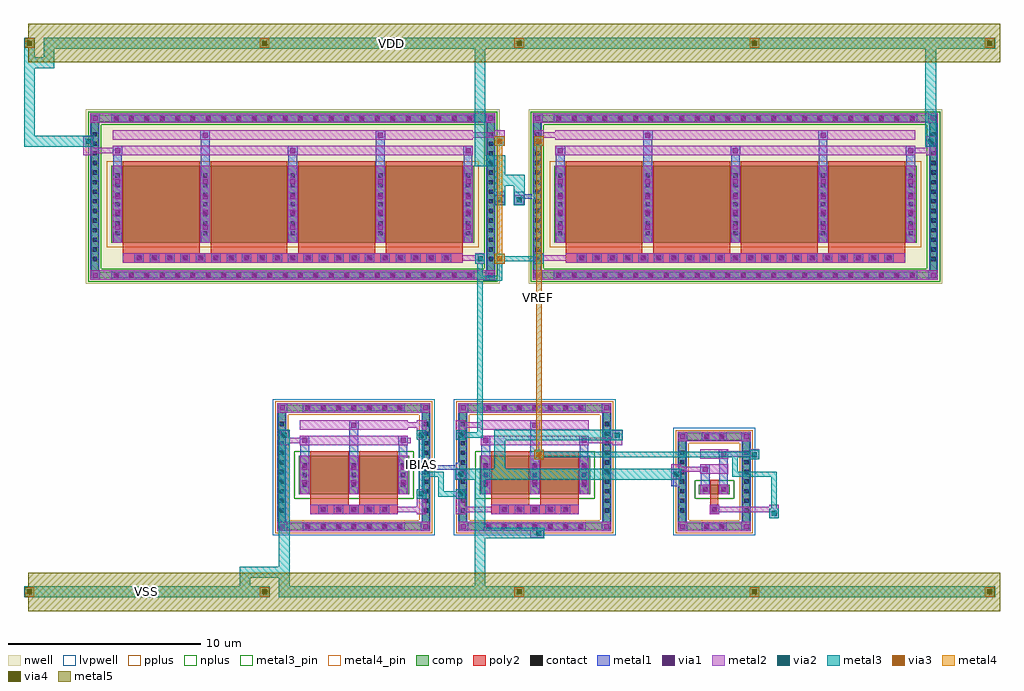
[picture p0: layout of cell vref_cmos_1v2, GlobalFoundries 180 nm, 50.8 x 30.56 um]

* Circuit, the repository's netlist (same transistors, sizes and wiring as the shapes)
* 1.2 V MOS-only reference (NMOS diode at its zero-TC current).
*
* Designed through the mbg agent CLI; see results/claude-code_vref_1v2_cmos.
* complexity: 5 MOS, 5 nets, max net degree 6
.lib "{PDK_LIB}" typical
.subckt vref_cmos_1v2 VDD VSS VREF IBIAS
XM0 IBIAS IBIAS VSS VSS nfet_03v3 L=2u W=4u nf=2
XM1 pm IBIAS VSS VSS nfet_03v3 L=2u W=4u nf=2
XM2 pm pm VDD VDD pfet_03v3 L=4u W=16u nf=4
XM3 VREF pm VDD VDD pfet_03v3 L=4u W=16u nf=4
XM4 VREF VREF VSS VSS nfet_03v3 L=0.4u W=0.5u nf=1
.ends

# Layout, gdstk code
import gdstk
lib = gdstk.Library(unit=1e-6, precision=1e-09)
def R(c, l, rs):  # rectangles x0, y0, x1, y1
    for r in rs: c.add(gdstk.rectangle(r[:2], r[2:], *l))
def A(c, l, x, y, w, h, nx, ny, dx, dy):  # array of equal rectangles
    R(c, l, [(x+i*dx, y+j*dy, x+i*dx+w, y+j*dy+h) for i in range(nx) for j in range(ny)])
def P(c, l, *ps):  # polygons
    for p in ps: c.add(gdstk.Polygon(p, *l))
nwell = (21, 0)
comp = (22, 0)
poly2 = (30, 0)
pplus = (31, 0)
nplus = (32, 0)
contact = (33, 0)
metal1 = (34, 0)
via1 = (35, 0)
metal2 = (36, 0)
via2 = (38, 0)
via3 = (40, 0)
via4 = (41, 0)
metal3 = (42, 0)
metal3_pin = (42, 10)
metal4 = (46, 0)
metal4_pin = (46, 10)
metal5 = (81, 0)
lvpwell = (204, 0)

vref_cmos_1v2 = lib.new_cell('vref_cmos_1v2')
R(vref_cmos_1v2, nwell, [(-22.29,13.09,-0.75,22.18), (0.75,13.09,22.29,22.18)])
A(vref_cmos_1v2, comp, -10.92, 0.28, 0.36, 0.36, 7, 2, 0.8, 6.17)
A(vref_cmos_1v2, comp, -1.5, 0.28, 0.36, 0.36, 7, 2, 0.8, 6.17)
A(vref_cmos_1v2, comp, -12.27, 1.115, 0.36, 0.36, 1, 10, 0, 0.5)
A(vref_cmos_1v2, comp, -4.77, 1.115, 0.36, 0.36, 1, 10, 0, 0.5)
A(vref_cmos_1v2, comp, -2.85, 1.115, 0.36, 0.36, 1, 10, 0, 0.5)
A(vref_cmos_1v2, comp, 4.65, 1.115, 0.36, 0.36, 1, 10, 0, 0.5)
A(vref_cmos_1v2, comp, 8.57, 1.12, 0.36, 0.36, 1, 7, 0, 0.5)
A(vref_cmos_1v2, comp, 11.91, 1.12, 0.36, 0.36, 1, 7, 0, 0.5)
A(vref_cmos_1v2, comp, -20.9, 13.37, 0.36, 0.36, 24, 2, 0.8, 8.17)
A(vref_cmos_1v2, comp, 2.14, 13.37, 0.36, 0.36, 24, 2, 0.8, 8.17)
A(vref_cmos_1v2, comp, -22.01, 14.205, 0.36, 0.36, 1, 14, 0, 0.5)
A(vref_cmos_1v2, comp, -1.39, 14.205, 0.36, 0.36, 1, 14, 0, 0.5)
A(vref_cmos_1v2, comp, 1.03, 14.205, 0.36, 0.36, 1, 14, 0, 0.5)
A(vref_cmos_1v2, comp, 21.65, 14.205, 0.36, 0.36, 1, 14, 0, 0.5)
R(vref_cmos_1v2, comp, [(-10.92,0.28,-5.76,0.64), (-1.5,0.28,3.66,0.64), (9.84,0.28,10.2,0.64), (9.84,0.28,11,0.64), (10.64,0.28,11,0.64), (-12.27,1.115,-11.91,5.975), (-4.77,1.115,-4.41,5.975), (-2.85,1.115,-2.49,5.975), (4.65,1.115,5.01,5.975), (8.57,1.12,8.93,4.48), (11.91,1.12,12.27,4.48), (-11.22,2.14,-5.46,4.14), (-1.8,2.14,3.96,4.14), (9.62,2.145,11.22,2.645), (9.84,4.96,10.2,5.32), (9.84,4.96,11,5.32), (10.64,4.96,11,5.32), (-10.92,6.45,-5.76,6.81), (-1.5,6.45,3.66,6.81), (-20.9,13.37,-2.14,13.73), (2.14,13.37,20.9,13.73), (-22.01,14.205,-21.65,21.065), (-1.39,14.205,-1.03,21.065), (1.03,14.205,1.39,21.065), (21.65,14.205,22.01,21.065), (-20.96,15.23,-2.08,19.23), (2.08,15.23,20.96,19.23), (-20.9,21.54,-2.14,21.9), (2.14,21.54,20.9,21.9)])
P(vref_cmos_1v2, comp, [(-4.41,6.81),(-12.27,6.81),(-12.27,0.64),(-11.91,0.64),(-11.91,6.45),(-4.77,6.45),(-4.77,0.64),(-11.91,0.64),(-12.27,0.64),(-12.27,0.28),(-4.41,0.28)],
  [(12.27,5.32),(8.57,5.32),(8.57,0.64),(8.93,0.64),(8.93,4.96),(11.91,4.96),(11.91,0.64),(8.93,0.64),(8.57,0.64),(8.57,0.28),(12.27,0.28)],
  [(22.01,21.9),(1.03,21.9),(1.03,13.73),(1.39,13.73),(1.39,21.54),(21.65,21.54),(21.65,13.73),(1.39,13.73),(1.03,13.73),(1.03,13.37),(22.01,13.37)],
  [(-1.03,21.9),(-22.01,21.9),(-22.01,13.73),(-21.65,13.73),(-21.65,21.54),(-1.39,21.54),(-1.39,13.73),(-21.65,13.73),(-22.01,13.73),(-22.01,13.37),(-1.03,13.37)],
  [(5.01,6.81),(-2.85,6.81),(-2.85,0.64),(-2.49,0.64),(-2.49,6.45),(4.65,6.45),(4.65,0.64),(-2.49,0.64),(-2.85,0.64),(-2.85,0.28),(5.01,0.28)])
A(vref_cmos_1v2, poly2, -10.12, 1.17, 0.36, 0.36, 5, 1, 0.8, 0)
A(vref_cmos_1v2, poly2, -0.7, 1.17, 0.36, 0.36, 5, 1, 0.8, 0)
A(vref_cmos_1v2, poly2, -19.7, 14.26, 0.36, 0.36, 21, 1, 0.8, 0)
A(vref_cmos_1v2, poly2, 3.34, 14.26, 0.36, 0.36, 21, 1, 0.8, 0)
A(vref_cmos_1v2, poly2, -20.36, 14.69, 4, 0.3, 4, 1, 4.56, 0)
A(vref_cmos_1v2, poly2, 2.68, 14.69, 4, 0.3, 4, 1, 4.56, 0)
A(vref_cmos_1v2, poly2, -20.36, 14.99, 4, 4.48, 4, 1, 4.56, 0)
A(vref_cmos_1v2, poly2, 2.68, 14.99, 4, 4.48, 4, 1, 4.56, 0)
R(vref_cmos_1v2, poly2, [(-10.62,1.1,-6.06,1.6), (-1.2,1.1,3.36,1.6), (10.17,1.105,10.67,1.605), (10.24,1.175,10.6,1.535), (-10.62,1.6,-8.62,1.9), (-8.06,1.6,-6.06,1.9), (-1.2,1.6,0.8,1.9), (1.36,1.6,3.36,1.9), (10.22,1.605,10.62,1.905), (-10.62,1.9,-8.62,4.38), (-8.06,1.9,-6.06,4.38), (-1.2,1.9,0.8,4.38), (1.36,1.9,3.36,4.38), (10.22,1.905,10.62,2.885), (-20.36,14.19,-2.68,14.69), (2.68,14.19,20.36,14.69)])
R(vref_cmos_1v2, pplus, [(-21.19,15,-1.85,19.46), (1.85,15,21.19,19.46)])
P(vref_cmos_1v2, pplus, [(-4.25,6.97),(-12.43,6.97),(-12.43,0.8),(-11.75,0.8),(-11.75,6.29),(-4.93,6.29),(-4.93,0.8),(-11.75,0.8),(-12.43,0.8),(-12.43,0.12),(-4.25,0.12)],
  [(12.43,5.48),(8.41,5.48),(8.41,0.8),(9.09,0.8),(9.09,4.8),(11.75,4.8),(11.75,0.8),(9.09,0.8),(8.41,0.8),(8.41,0.12),(12.43,0.12)],
  [(5.17,6.97),(-3.01,6.97),(-3.01,0.8),(-2.33,0.8),(-2.33,6.29),(4.49,6.29),(4.49,0.8),(-2.33,0.8),(-3.01,0.8),(-3.01,0.12),(5.17,0.12)])
R(vref_cmos_1v2, nplus, [(-11.45,1.91,-5.23,4.37), (-2.03,1.91,4.19,4.37), (9.39,1.915,11.45,2.875)])
P(vref_cmos_1v2, nplus, [(22.17,22.06),(0.87,22.06),(0.87,13.89),(1.55,13.89),(1.55,21.38),(21.49,21.38),(21.49,13.89),(1.55,13.89),(0.87,13.89),(0.87,13.21),(22.17,13.21)],
  [(-0.87,22.06),(-22.17,22.06),(-22.17,13.89),(-21.49,13.89),(-21.49,21.38),(-1.55,21.38),(-1.55,13.89),(-21.49,13.89),(-22.17,13.89),(-22.17,13.21),(-0.87,13.21)])
A(vref_cmos_1v2, contact, -10.85, 0.35, 0.22, 0.22, 7, 2, 0.8, 6.17)
A(vref_cmos_1v2, contact, -1.43, 0.35, 0.22, 0.22, 7, 2, 0.8, 6.17)
A(vref_cmos_1v2, contact, -12.2, 1.185, 0.22, 0.22, 1, 10, 0, 0.5)
A(vref_cmos_1v2, contact, -4.7, 1.185, 0.22, 0.22, 1, 10, 0, 0.5)
A(vref_cmos_1v2, contact, -2.78, 1.185, 0.22, 0.22, 1, 10, 0, 0.5)
A(vref_cmos_1v2, contact, 4.72, 1.185, 0.22, 0.22, 1, 10, 0, 0.5)
A(vref_cmos_1v2, contact, 8.64, 1.19, 0.22, 0.22, 1, 7, 0, 0.5)
A(vref_cmos_1v2, contact, 11.98, 1.19, 0.22, 0.22, 1, 7, 0, 0.5)
A(vref_cmos_1v2, contact, -10.05, 1.24, 0.22, 0.22, 5, 1, 0.8, 0)
A(vref_cmos_1v2, contact, -0.63, 1.24, 0.22, 0.22, 5, 1, 0.8, 0)
A(vref_cmos_1v2, contact, -11.01, 2.53, 0.22, 0.22, 3, 3, 2.56, 0.5)
A(vref_cmos_1v2, contact, -1.59, 2.53, 0.22, 0.22, 3, 3, 2.56, 0.5)
A(vref_cmos_1v2, contact, -20.83, 13.44, 0.22, 0.22, 24, 2, 0.8, 8.17)
A(vref_cmos_1v2, contact, 2.21, 13.44, 0.22, 0.22, 24, 2, 0.8, 8.17)
A(vref_cmos_1v2, contact, -21.94, 14.275, 0.22, 0.22, 1, 14, 0, 0.5)
A(vref_cmos_1v2, contact, -1.32, 14.275, 0.22, 0.22, 1, 14, 0, 0.5)
A(vref_cmos_1v2, contact, 1.1, 14.275, 0.22, 0.22, 1, 14, 0, 0.5)
A(vref_cmos_1v2, contact, 21.72, 14.275, 0.22, 0.22, 1, 14, 0, 0.5)
A(vref_cmos_1v2, contact, -19.63, 14.33, 0.22, 0.22, 21, 1, 0.8, 0)
A(vref_cmos_1v2, contact, 3.41, 14.33, 0.22, 0.22, 21, 1, 0.8, 0)
A(vref_cmos_1v2, contact, -20.75, 15.62, 0.22, 0.22, 5, 7, 4.56, 0.5)
A(vref_cmos_1v2, contact, 2.29, 15.62, 0.22, 0.22, 5, 7, 4.56, 0.5)
R(vref_cmos_1v2, contact, [(9.91,0.35,10.13,0.57), (10.71,0.35,10.93,0.57), (10.31,1.245,10.53,1.465), (9.83,2.285,10.05,2.505), (10.79,2.285,11.01,2.505), (9.91,5.03,10.13,5.25), (10.71,5.03,10.93,5.25)])
A(vref_cmos_1v2, metal1, -10.99, 0.21, 0.5, 0.5, 7, 2, 0.8, 6.17)
A(vref_cmos_1v2, metal1, -1.57, 0.21, 0.5, 0.5, 7, 2, 0.8, 6.17)
A(vref_cmos_1v2, metal1, -12.32, 1.065, 0.46, 0.46, 1, 10, 0, 0.5)
A(vref_cmos_1v2, metal1, -4.82, 1.065, 0.46, 0.46, 1, 10, 0, 0.5)
A(vref_cmos_1v2, metal1, -2.9, 1.065, 0.46, 0.46, 1, 10, 0, 0.5)
A(vref_cmos_1v2, metal1, 4.6, 1.065, 0.46, 0.46, 1, 10, 0, 0.5)
A(vref_cmos_1v2, metal1, 8.52, 1.07, 0.46, 0.46, 1, 7, 0, 0.5)
A(vref_cmos_1v2, metal1, 11.86, 1.07, 0.46, 0.46, 1, 7, 0, 0.5)
A(vref_cmos_1v2, metal1, -10.19, 1.1, 0.5, 0.5, 5, 1, 0.8, 0)
A(vref_cmos_1v2, metal1, -0.77, 1.1, 0.5, 0.5, 5, 1, 0.8, 0)
A(vref_cmos_1v2, metal1, -11.13, 2.14, 0.46, 2, 3, 1, 2.56, 0)
A(vref_cmos_1v2, metal1, -1.71, 2.14, 0.46, 2, 3, 1, 2.56, 0)
A(vref_cmos_1v2, metal1, -11.13, 2.41, 0.46, 0.46, 3, 3, 2.56, 0.5)
A(vref_cmos_1v2, metal1, -1.71, 2.41, 0.46, 0.46, 3, 3, 2.56, 0.5)
A(vref_cmos_1v2, metal1, -11.15, 2.49, 0.5, 0.5, 3, 2, 2.56, 0.8)
A(vref_cmos_1v2, metal1, -11.15, 2.49, 0.5, 1.3, 3, 1, 2.56, 0)
A(vref_cmos_1v2, metal1, -1.73, 2.49, 0.5, 0.5, 3, 2, 2.56, 0.8)
A(vref_cmos_1v2, metal1, -1.73, 2.49, 0.5, 1.3, 3, 1, 2.56, 0)
A(vref_cmos_1v2, metal1, -20.97, 13.3, 0.5, 0.5, 24, 2, 0.8, 8.17)
A(vref_cmos_1v2, metal1, 2.07, 13.3, 0.5, 0.5, 24, 2, 0.8, 8.17)
A(vref_cmos_1v2, metal1, -22.06, 14.155, 0.46, 0.46, 1, 14, 0, 0.5)
A(vref_cmos_1v2, metal1, -1.44, 14.155, 0.46, 0.46, 1, 14, 0, 0.5)
A(vref_cmos_1v2, metal1, 0.98, 14.155, 0.46, 0.46, 1, 14, 0, 0.5)
A(vref_cmos_1v2, metal1, 21.6, 14.155, 0.46, 0.46, 1, 14, 0, 0.5)
A(vref_cmos_1v2, metal1, -19.77, 14.19, 0.5, 0.5, 21, 1, 0.8, 0)
A(vref_cmos_1v2, metal1, 3.27, 14.19, 0.5, 0.5, 21, 1, 0.8, 0)
A(vref_cmos_1v2, metal1, -20.87, 15.23, 0.46, 4, 5, 1, 4.56, 0)
A(vref_cmos_1v2, metal1, 2.17, 15.23, 0.46, 4, 5, 1, 4.56, 0)
A(vref_cmos_1v2, metal1, -20.87, 15.5, 0.46, 0.46, 5, 7, 4.56, 0.5)
A(vref_cmos_1v2, metal1, 2.17, 15.5, 0.46, 0.46, 5, 7, 4.56, 0.5)
A(vref_cmos_1v2, metal1, -20.89, 15.78, 0.5, 0.5, 5, 4, 4.56, 0.8)
A(vref_cmos_1v2, metal1, -20.89, 15.78, 0.5, 2.9, 5, 1, 4.56, 0)
A(vref_cmos_1v2, metal1, 2.15, 15.78, 0.5, 0.5, 5, 4, 4.56, 0.8)
A(vref_cmos_1v2, metal1, 2.15, 15.78, 0.5, 2.9, 5, 1, 4.56, 0)
A(vref_cmos_1v2, metal1, -20.87, 19.23, 0.46, 1.05, 3, 1, 9.12, 0)
A(vref_cmos_1v2, metal1, 2.17, 19.23, 0.46, 1.05, 3, 1, 9.12, 0)
A(vref_cmos_1v2, metal1, -20.89, 19.78, 0.5, 0.5, 3, 1, 9.12, 0)
A(vref_cmos_1v2, metal1, 2.15, 19.78, 0.5, 0.5, 3, 1, 9.12, 0)
R(vref_cmos_1v2, metal1, [(-12.32,0.21,-11.82,0.71), (-12.32,0.21,-11.82,0.71), (-12.32,0.21,-11.86,0.64), (-10.99,0.21,-5.69,0.71), (-4.86,0.21,-4.36,0.71), (-4.86,0.21,-4.36,0.71), (-4.82,0.21,-4.36,0.64), (-2.9,0.21,-2.4,0.71), (-2.9,0.21,-2.4,0.71), (-2.9,0.21,-2.44,0.64), (-1.57,0.21,3.73,0.71), (4.56,0.21,5.06,0.71), (4.56,0.21,5.06,0.71), (4.6,0.21,5.06,0.64), (8.52,0.21,9.02,0.71), (8.52,0.21,9.02,0.71), (8.52,0.21,8.98,0.64), (9.77,0.21,10.27,0.71), (9.77,0.21,11.07,0.71), (10.57,0.21,11.07,0.71), (11.82,0.21,12.32,0.71), (11.82,0.21,12.32,0.71), (11.86,0.21,12.32,0.64), (-12.32,0.64,-11.86,6.45), (-4.82,0.64,-4.36,6.45), (-2.9,0.64,-2.44,6.45), (4.6,0.64,5.06,6.45), (8.52,0.64,8.98,4.96), (11.86,0.64,12.32,4.96), (10.17,1.105,10.67,1.605), (9.69,2.145,10.19,2.645), (9.69,2.145,10.19,2.645), (9.71,2.145,10.17,2.645), (10.65,2.145,11.15,2.645), (10.65,2.145,11.15,2.645), (10.67,2.145,11.13,2.645), (9.71,2.165,10.17,2.625), (10.67,2.165,11.13,2.625), (8.52,2.53,8.635,2.685), (8.52,2.53,8.635,2.685), (8.52,2.53,8.68,2.55), (8.52,2.53,8.68,2.55), (8.18,2.55,8.68,3.43), (8.18,2.55,8.68,3.43), (9.71,2.645,10.17,3.695), (10.67,2.645,11.13,4.495), (8.315,2.685,8.635,2.915), (8.315,2.685,8.635,2.915), (8.52,2.915,8.635,3.07), (8.52,2.915,8.635,3.07), (-3.04,2.93,-2.54,3.79), (-3.04,2.93,-2.54,3.43), (8.18,2.93,8.68,3.43), (9.69,3.195,10.19,3.695), (-4.475,3.425,-2.675,3.655), (8.52,3.43,8.68,3.57), (8.52,3.43,8.68,3.57), (-2.9,3.79,-2.54,4.065), (10.65,3.995,11.15,4.495), (-11.13,4.14,-10.67,5.19), (-8.57,4.14,-8.11,5.99), (-6.01,4.14,-5.55,5.19), (-1.71,4.14,-1.25,5.19), (0.85,4.14,1.31,5.99), (3.41,4.14,3.87,5.19), (-11.15,4.69,-10.65,5.19), (-6.03,4.69,-5.53,5.19), (-1.73,4.69,-1.23,5.19), (3.39,4.69,3.89,5.19), (8.52,4.89,9.02,5.39), (8.52,4.89,9.02,5.39), (9.77,4.89,10.27,5.39), (9.77,4.89,11.07,5.39), (10.57,4.89,11.07,5.39), (11.82,4.89,12.32,5.39), (11.82,4.89,12.32,5.39), (8.52,4.96,8.98,5.39), (11.86,4.96,12.32,5.39), (-8.59,5.49,-8.09,5.99), (0.83,5.49,1.33,5.99), (-12.32,6.38,-11.82,6.88), (-12.32,6.38,-11.82,6.88), (-10.99,6.38,-5.69,6.88), (-4.86,6.38,-4.36,6.88), (-4.86,6.38,-4.36,6.88), (-2.9,6.38,-2.4,6.88), (-2.9,6.38,-2.4,6.88), (-1.57,6.38,3.73,6.88), (4.56,6.38,5.06,6.88), (4.56,6.38,5.06,6.88), (-12.32,6.45,-11.86,6.88), (-4.82,6.45,-4.36,6.88), (-2.9,6.45,-2.44,6.88), (4.6,6.45,5.06,6.88), (-22.06,13.3,-21.56,13.8), (-22.06,13.3,-21.56,13.8), (-22.06,13.3,-21.6,13.73), (-20.97,13.3,-2.07,13.8), (-1.48,13.3,-0.98,13.8), (-1.48,13.3,-0.98,13.8), (-1.44,13.3,-0.98,13.73), (0.98,13.3,1.48,13.8), (0.98,13.3,1.48,13.8), (0.98,13.3,1.44,13.73), (2.07,13.3,20.97,13.8), (21.56,13.3,22.06,13.8), (21.56,13.3,22.06,13.8), (21.6,13.3,22.06,13.73), (-22.06,13.73,-21.6,21.54), (-1.44,13.73,-0.98,21.54), (0.98,13.73,1.44,21.54), (21.6,13.73,22.06,21.54), (-1,17.115,-0.98,17.21), (-1,17.21,-0.5,17.88), (-1,17.21,-0.5,17.71), (0.02,17.21,0.52,17.88), (0.02,17.21,0.52,17.71), (-1.095,17.515,-0.635,17.745), (0.155,17.515,1.095,17.745), (-1,17.88,-0.98,18.155), (-16.31,19.23,-15.85,21.08), (-7.19,19.23,-6.73,21.08), (6.73,19.23,7.19,21.08), (15.85,19.23,16.31,21.08), (-16.33,20.58,-15.83,21.08), (-7.21,20.58,-6.71,21.08), (6.71,20.58,7.21,21.08), (15.83,20.58,16.33,21.08), (-22.06,21.47,-21.56,21.97), (-22.06,21.47,-21.56,21.97), (-20.97,21.47,-2.07,21.97), (-1.48,21.47,-0.98,21.97), (-1.48,21.47,-0.98,21.97), (0.98,21.47,1.48,21.97), (0.98,21.47,1.48,21.97), (2.07,21.47,20.97,21.97), (21.56,21.47,22.06,21.97), (21.56,21.47,22.06,21.97), (-22.06,21.54,-21.6,21.97), (-1.44,21.54,-0.98,21.97), (0.98,21.54,1.44,21.97), (21.6,21.54,22.06,21.97)])
A(vref_cmos_1v2, via1, -10.87, 0.33, 0.26, 0.26, 7, 2, 0.8, 6.17)
A(vref_cmos_1v2, via1, -1.45, 0.33, 0.26, 0.26, 7, 2, 0.8, 6.17)
A(vref_cmos_1v2, via1, -10.07, 1.22, 0.26, 0.26, 5, 1, 0.8, 0)
A(vref_cmos_1v2, via1, -0.65, 1.22, 0.26, 0.26, 5, 1, 0.8, 0)
A(vref_cmos_1v2, via1, -11.03, 2.61, 0.26, 0.26, 3, 2, 2.56, 0.8)
A(vref_cmos_1v2, via1, -1.61, 2.61, 0.26, 0.26, 3, 2, 2.56, 0.8)
A(vref_cmos_1v2, via1, -20.85, 13.42, 0.26, 0.26, 24, 2, 0.8, 8.17)
A(vref_cmos_1v2, via1, 2.19, 13.42, 0.26, 0.26, 24, 2, 0.8, 8.17)
A(vref_cmos_1v2, via1, -19.65, 14.31, 0.26, 0.26, 21, 1, 0.8, 0)
A(vref_cmos_1v2, via1, 3.39, 14.31, 0.26, 0.26, 21, 1, 0.8, 0)
A(vref_cmos_1v2, via1, -20.77, 15.9, 0.26, 0.26, 5, 4, 4.56, 0.8)
A(vref_cmos_1v2, via1, 2.27, 15.9, 0.26, 0.26, 5, 4, 4.56, 0.8)
A(vref_cmos_1v2, via1, -20.77, 19.9, 0.26, 0.26, 3, 1, 9.12, 0)
A(vref_cmos_1v2, via1, 2.27, 19.9, 0.26, 0.26, 3, 1, 9.12, 0)
R(vref_cmos_1v2, via1, [(-12.2,0.33,-11.94,0.59), (-4.74,0.33,-4.48,0.59), (-2.78,0.33,-2.52,0.59), (4.68,0.33,4.94,0.59), (8.64,0.33,8.9,0.59), (9.89,0.33,10.15,0.59), (10.69,0.33,10.95,0.59), (11.94,0.33,12.2,0.59), (10.29,1.225,10.55,1.485), (9.81,2.265,10.07,2.525), (10.77,2.265,11.03,2.525), (-2.92,3.05,-2.66,3.31), (8.3,3.05,8.56,3.31), (9.81,3.315,10.07,3.575), (10.77,4.115,11.03,4.375), (-11.03,4.81,-10.77,5.07), (-5.91,4.81,-5.65,5.07), (-1.61,4.81,-1.35,5.07), (3.51,4.81,3.77,5.07), (8.64,5.01,8.9,5.27), (9.89,5.01,10.15,5.27), (10.69,5.01,10.95,5.27), (11.94,5.01,12.2,5.27), (-8.47,5.61,-8.21,5.87), (0.95,5.61,1.21,5.87), (-12.2,6.5,-11.94,6.76), (-4.74,6.5,-4.48,6.76), (-2.78,6.5,-2.52,6.76), (4.68,6.5,4.94,6.76), (-21.94,13.42,-21.68,13.68), (-1.36,13.42,-1.1,13.68), (1.1,13.42,1.36,13.68), (21.68,13.42,21.94,13.68), (-0.88,17.33,-0.62,17.59), (0.14,17.33,0.4,17.59), (-16.21,20.7,-15.95,20.96), (-7.09,20.7,-6.83,20.96), (6.83,20.7,7.09,20.96), (15.95,20.7,16.21,20.96), (-21.94,21.59,-21.68,21.85), (-1.36,21.59,-1.1,21.85), (1.1,21.59,1.36,21.85), (21.68,21.59,21.94,21.85)])
A(vref_cmos_1v2, metal2, -10.99, 0.21, 0.5, 0.5, 7, 2, 0.8, 6.17)
A(vref_cmos_1v2, metal2, -1.57, 0.21, 0.5, 0.5, 7, 2, 0.8, 6.17)
A(vref_cmos_1v2, metal2, -10.19, 1.1, 0.5, 0.5, 5, 1, 0.8, 0)
A(vref_cmos_1v2, metal2, -0.77, 1.1, 0.5, 0.5, 5, 1, 0.8, 0)
A(vref_cmos_1v2, metal2, -11.15, 2.14, 0.5, 2, 3, 1, 2.56, 0)
A(vref_cmos_1v2, metal2, -1.73, 2.14, 0.5, 2, 3, 1, 2.56, 0)
A(vref_cmos_1v2, metal2, -11.15, 2.49, 0.5, 0.5, 3, 2, 2.56, 0.8)
A(vref_cmos_1v2, metal2, -1.73, 2.49, 0.5, 0.5, 3, 2, 2.56, 0.8)
A(vref_cmos_1v2, metal2, -20.97, 13.3, 0.5, 0.5, 24, 2, 0.8, 8.17)
A(vref_cmos_1v2, metal2, 2.07, 13.3, 0.5, 0.5, 24, 2, 0.8, 8.17)
A(vref_cmos_1v2, metal2, -19.77, 14.19, 0.5, 0.5, 21, 1, 0.8, 0)
A(vref_cmos_1v2, metal2, 3.27, 14.19, 0.5, 0.5, 21, 1, 0.8, 0)
A(vref_cmos_1v2, metal2, -20.89, 15.23, 0.5, 4, 5, 1, 4.56, 0)
A(vref_cmos_1v2, metal2, 2.15, 15.23, 0.5, 4, 5, 1, 4.56, 0)
A(vref_cmos_1v2, metal2, -20.89, 15.78, 0.5, 0.5, 5, 4, 4.56, 0.8)
A(vref_cmos_1v2, metal2, 2.15, 15.78, 0.5, 0.5, 5, 4, 4.56, 0.8)
A(vref_cmos_1v2, metal2, -20.89, 19.78, 0.5, 0.5, 3, 1, 9.12, 0)
A(vref_cmos_1v2, metal2, 2.15, 19.78, 0.5, 0.5, 3, 1, 9.12, 0)
R(vref_cmos_1v2, metal2, [(0.83,-0.13,1.54,0.37), (1.04,-0.13,1.54,0.37), (0.94,-0.02,1.22,0.35), (-12.32,0.21,-11.82,0.71), (-12.32,0.21,-11.82,0.71), (-12.32,0.21,-11.91,0.71), (-11.91,0.21,-4.77,0.71), (-4.86,0.21,-4.36,0.71), (-4.86,0.21,-4.36,0.71), (-4.77,0.21,-4.36,0.71), (-2.9,0.21,-2.4,0.71), (-2.9,0.21,-2.4,0.71), (-2.9,0.21,-2.49,0.71), (-2.49,0.21,4.65,0.71), (1.54,0.21,1.63,0.37), (4.56,0.21,5.06,0.71), (4.56,0.21,5.06,0.71), (4.65,0.21,5.06,0.71), (8.52,0.21,9.02,0.71), (8.52,0.21,9.02,0.71), (8.52,0.21,8.93,0.71), (8.93,0.21,11.91,0.71), (9.77,0.21,10.27,0.71), (10.57,0.21,11.07,0.71), (11.82,0.21,12.32,0.71), (11.82,0.21,12.32,0.71), (11.91,0.21,12.32,0.71), (13.28,0.89,13.78,1.6), (13.28,0.89,13.78,1.39), (-10.62,1.1,-6.06,1.6), (-5.08,1.1,-4.58,2.41), (-3.04,1.1,-2.54,2.41), (-1.2,1.1,3.36,1.6), (10.17,1.105,10.67,1.605), (10.17,1.105,10.67,1.605), (-6.49,1.21,-6.2,1.49), (-6.2,1.21,-4.69,1.49), (-2.93,1.21,-1.06,1.49), (-1.06,1.21,-0.77,1.49), (10.53,1.21,13.67,1.49), (-5.08,1.91,-4.58,2.41), (-3.04,1.91,-2.54,2.41), (9.69,2.145,10.19,2.645), (9.69,2.145,10.19,2.645), (10.65,2.145,11.15,2.645), (10.65,2.145,11.15,2.645), (-3.04,2.93,-2.54,3.43), (8.18,2.93,8.68,3.69), (8.18,2.93,8.68,3.69), (8.18,2.93,8.68,3.43), (9.69,3.195,10.19,3.695), (9.69,3.195,11.15,3.695), (8.29,3.3,9.83,3.58), (8.29,3.3,9.83,3.58), (12.26,3.95,12.76,4.49), (12.26,3.95,12.76,4.45), (9.69,3.995,11.15,4.495), (10.65,3.995,11.15,4.495), (11.01,4.1,12.65,4.38), (-12.22,4.69,-11.72,5.47), (-11.15,4.69,-10.65,5.19), (-11.15,4.69,-5.53,5.19), (-6.03,4.69,-5.53,5.19), (-1.73,4.69,-1.23,5.19), (-1.73,4.69,3.89,5.19), (3.39,4.69,3.89,5.19), (5.12,4.69,5.62,5.47), (-12.11,4.8,-5.39,5.08), (3.75,4.8,5.51,5.08), (8.52,4.89,9.02,5.39), (8.52,4.89,9.02,5.39), (8.52,4.89,8.93,5.39), (8.93,4.89,11.91,5.39), (9.77,4.89,10.27,5.39), (10.57,4.89,11.07,5.39), (11.82,4.89,12.32,5.39), (11.82,4.89,12.32,5.39), (11.91,4.89,12.32,5.39), (-12.22,4.97,-11.72,5.47), (-5.08,4.97,-4.58,5.99), (-5.08,4.97,-4.58,5.47), (-3.04,4.97,-2.54,5.99), (-3.04,4.97,-2.54,5.47), (5.12,4.97,5.62,5.47), (-11.15,5.49,-5.53,5.99), (-8.59,5.49,-8.09,5.99), (-1.73,5.49,3.89,5.99), (0.83,5.49,1.33,5.99), (-5.67,5.6,-4.69,5.88), (-2.93,5.6,-1.59,5.88), (-12.32,6.38,-11.82,6.88), (-12.32,6.38,-11.82,6.88), (-12.32,6.38,-11.91,6.88), (-11.91,6.38,-4.77,6.88), (-4.86,6.38,-4.36,6.88), (-4.86,6.38,-4.36,6.88), (-4.77,6.38,-4.36,6.88), (-2.9,6.38,-2.4,6.88), (-2.9,6.38,-2.4,6.88), (-2.9,6.38,-2.49,6.88), (-2.49,6.38,4.65,6.88), (4.56,6.38,5.06,6.88), (4.56,6.38,5.06,6.88), (4.65,6.38,5.06,6.88), (-22.06,13.3,-21.56,13.8), (-22.06,13.3,-21.56,13.8), (-22.06,13.3,-21.65,13.8), (-21.65,13.3,-1.39,13.8), (-1.48,13.3,-0.98,13.8), (-1.48,13.3,-0.98,13.8), (-1.39,13.3,-0.98,13.8), (0.98,13.3,1.48,13.8), (0.98,13.3,1.48,13.8), (0.98,13.3,1.39,13.8), (1.39,13.3,21.65,13.8), (21.56,13.3,22.06,13.8), (21.56,13.3,22.06,13.8), (21.65,13.3,22.06,13.8), (-2.02,14.15,-1.52,14.69), (-2.02,14.15,-1.52,14.65), (1.04,14.15,1.54,14.69), (1.04,14.15,1.54,14.65), (-20.36,14.19,-2.68,14.69), (2.68,14.19,20.36,14.69), (-2.82,14.3,-1.63,14.58), (1.15,14.3,2.82,14.58), (-1,17.21,-0.5,17.71), (0.02,17.21,0.52,17.71), (-22.42,19.78,-21.92,20.77), (-20.89,19.78,-2.15,20.28), (2.15,19.78,20.89,20.28), (21.44,19.78,21.94,20.77), (-22.31,19.89,-20.75,20.17), (20.75,19.89,21.83,20.17), (-22.42,20.27,-21.92,20.77), (-1,20.27,-0.5,21.08), (-1,20.27,-0.5,20.77), (1.04,20.27,1.54,21.08), (1.04,20.27,1.54,20.77), (21.44,20.27,21.94,20.77), (-20.89,20.58,-2.15,21.08), (-16.33,20.58,-15.83,21.08), (-7.21,20.58,-6.71,21.08), (2.15,20.58,20.89,21.08), (6.71,20.58,7.21,21.08), (15.83,20.58,16.33,21.08), (-2.29,20.69,-0.61,20.97), (1.15,20.69,2.29,20.97), (-22.06,21.47,-21.56,21.97), (-22.06,21.47,-21.56,21.97), (-22.06,21.47,-21.65,21.97), (-21.65,21.47,-1.39,21.97), (-1.48,21.47,-0.98,21.97), (-1.48,21.47,-0.98,21.97), (-1.39,21.47,-0.98,21.97), (0.98,21.47,1.48,21.97), (0.98,21.47,1.48,21.97), (0.98,21.47,1.39,21.97), (1.39,21.47,21.65,21.97), (21.56,21.47,22.06,21.97), (21.56,21.47,22.06,21.97), (21.65,21.47,22.06,21.97)])
R(vref_cmos_1v2, via2, [(1.16,-0.01,1.42,0.25), (13.4,1.01,13.66,1.27), (-4.96,2.03,-4.7,2.29), (-2.92,2.03,-2.66,2.29), (-2.92,3.05,-2.66,3.31), (8.3,3.05,8.56,3.31), (12.38,4.07,12.64,4.33), (-12.1,5.09,-11.84,5.35), (-4.96,5.09,-4.7,5.35), (-2.92,5.09,-2.66,5.35), (5.24,5.09,5.5,5.35), (-1.9,14.27,-1.64,14.53), (1.16,14.27,1.42,14.53), (-0.88,17.33,-0.62,17.59), (0.14,17.33,0.4,17.59), (-22.3,20.39,-22.04,20.65), (-0.88,20.39,-0.62,20.65), (1.16,20.39,1.42,20.65), (21.56,20.39,21.82,20.65)])
A(vref_cmos_1v2, via3, 0.14, -3.07, 0.26, 0.26, 3, 2, 12.24, 28.56)
R(vref_cmos_1v2, via3, [(-25.36,-3.07,-25.1,-2.81), (-13.12,-3.07,-12.86,-2.81), (1.16,4.07,1.42,4.33), (-0.88,14.27,-0.62,14.53), (-0.88,20.39,-0.62,20.65), (1.16,20.39,1.42,20.65), (-25.36,25.49,-25.1,25.75), (-13.12,25.49,-12.86,25.75)])
A(vref_cmos_1v2, via4, 0.14, -3.07, 0.26, 0.26, 3, 2, 12.24, 28.56)
R(vref_cmos_1v2, via4, [(-25.36,-3.07,-25.1,-2.81), (-13.12,-3.07,-12.86,-2.81), (-25.36,25.49,-25.1,25.75), (-13.12,25.49,-12.86,25.75)])
A(vref_cmos_1v2, metal3, -12.25, -3.22, 12.8, 0.56, 3, 1, 12.24, 0)
A(vref_cmos_1v2, metal3, 0.02, -3.19, 0.5, 0.5, 3, 2, 12.24, 28.56)
A(vref_cmos_1v2, metal3, -1, 14.15, 0.5, 0.5, 1, 3, 0, 3.06)
R(vref_cmos_1v2, metal3, [(-25.51,-3.22,-12.71,-2.66), (-14.29,-3.22,-13.73,-1.64), (-12.25,-3.22,-11.69,-1.64), (-2.05,-3.22,-1.49,3.46), (-25.48,-3.19,-24.98,-2.69), (-13.24,-3.19,-12.74,-2.69), (-14.29,-2.2,-11.69,-1.64), (-12.25,-2.2,-11.69,5.5), (-2.05,-0.16,1.57,0.4), (1.04,-0.13,1.54,0.37), (13.28,0.89,13.78,1.39), (13.39,1,13.67,3.32), (-5.08,1.91,-4.58,2.41), (-3.04,1.91,-2.54,2.41), (-4.97,2.02,-4.69,5.36), (-3.95,2.02,-2.65,2.3), (-3.95,2.02,-3.67,3.32), (-3.07,2.9,-1.49,3.46), (-2.05,2.9,-0.47,3.46), (-1.03,2.9,-0.47,5.5), (-1.03,2.9,8.71,3.46), (-3.04,2.93,-2.54,3.43), (8.18,2.93,8.68,3.43), (-4.97,3.04,-3.67,3.32), (11.35,3.04,13.67,3.32), (11.35,3.04,11.63,4.34), (1.04,3.95,1.54,4.45), (12.26,3.95,12.76,4.45), (1.15,4.06,12.65,4.34), (-1.03,4.94,5.65,5.5), (-12.22,4.97,-11.72,5.47), (-5.08,4.97,-4.58,5.47), (-3.04,4.97,-2.54,5.47), (5.12,4.97,5.62,5.47), (-2.93,5.08,-1.63,5.36), (-1.91,5.08,-1.63,14.54), (-1.91,13.24,-0.61,13.52), (-0.89,13.24,-0.61,14.54), (-2.02,14.15,-1.52,14.65), (1.04,14.15,1.54,14.65), (-0.89,14.26,1.43,14.54), (-1.03,17.18,-0.47,19.78), (-0.01,17.18,0.55,18.76), (0.02,17.21,0.52,17.71), (-1.03,18.2,0.55,18.76), (-2.05,19.22,-0.47,19.78), (-2.05,19.22,-1.49,25.9), (-25.51,20.24,-21.89,20.8), (-25.51,20.24,-24.95,25.9), (21.41,20.24,21.97,25.9), (-22.42,20.27,-21.92,20.77), (-1,20.27,-0.5,20.77), (1.04,20.27,1.54,20.77), (1.04,20.27,1.54,20.77), (21.44,20.27,21.94,20.77), (-25.51,24.32,-23.93,24.88), (-24.49,24.32,-23.93,25.9), (-24.49,25.34,-12.71,25.9), (-13.27,25.34,0.55,25.9), (-0.01,25.34,12.79,25.9), (12.23,25.34,25.03,25.9), (-25.48,25.37,-24.98,25.87), (-13.24,25.37,-12.74,25.87)])
R(vref_cmos_1v2, metal3_pin, [(-19.39,-3.22,-18.83,-2.66), (-4.97,3.55,-4.69,3.83), (-6.64,25.34,-6.08,25.9)])
A(vref_cmos_1v2, metal4, 0.02, -3.19, 0.5, 0.5, 3, 2, 12.24, 28.56)
R(vref_cmos_1v2, metal4, [(-25.48,-3.19,-24.98,-2.69), (-13.24,-3.19,-12.74,-2.69), (1.04,3.95,1.54,4.45), (1.15,4.06,1.43,20.66), (-1,14.15,-0.5,14.65), (-0.89,14.26,-0.61,20.66), (-1,20.27,-0.5,20.77), (1.04,20.27,1.54,20.77), (-25.48,25.37,-24.98,25.87), (-13.24,25.37,-12.74,25.87)])
R(vref_cmos_1v2, metal4_pin, [(1.15,12.22,1.43,12.5)])
A(vref_cmos_1v2, metal5, 0.02, -3.19, 0.5, 0.5, 3, 2, 12.24, 28.56)
R(vref_cmos_1v2, metal5, [(-25.29,-3.94,25.29,-1.94), (-25.48,-3.19,-24.98,-2.69), (-13.24,-3.19,-12.74,-2.69), (-25.29,24.62,25.29,26.62), (-25.48,25.37,-24.98,25.87), (-13.24,25.37,-12.74,25.87)])
R(vref_cmos_1v2, lvpwell, [(-12.55,0,-4.13,7.09), (-3.13,0,5.29,7.09), (8.29,0,12.55,5.6)])
vref_cmos_1v2.add(gdstk.Label('IBIAS', (-4.83,3.69), layer=42, texttype=10))
vref_cmos_1v2.add(gdstk.Label('VREF', (1.29,12.36), layer=46, texttype=10))
vref_cmos_1v2.add(gdstk.Label('VSS', (-19.11,-2.94), layer=42, texttype=10))
vref_cmos_1v2.add(gdstk.Label('VDD', (-6.36,25.62), layer=42, texttype=10))

lib.write_gds('vref_cmos_1v2.gds')
